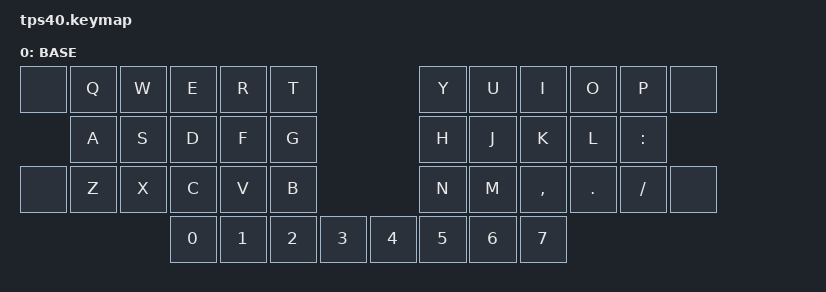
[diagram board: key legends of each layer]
/*
 * Copyright (c) 2021 The ZMK Contributors
 *
 * SPDX-License-Identifier: MIT
 */

#include <behaviors.dtsi>
#include <dt-bindings/zmk/keys.h>
#include <dt-bindings/zmk/bt.h>
#include <dt-bindings/zmk/ext_power.h>
#include <dt-bindings/zmk/outputs.h>

#include "swiss-keymap.h"

#define BASE   0
#define NAVR   1
#define SYMB   2
#define NUMR   3
#define FUNL   4
#define ADJL   5    

/ {
    keymap {
        compatible = "zmk,keymap";
        base {
            label = "BASE";
            bindings = <
    &none   &kp Q   &kp W   &kp E   &kp R   &kp T                               &kp Y   &kp U   &kp I     &kp O   &kp P     &none
            &kp A   &kp S   &kp D   &kp F   &kp G                               &kp H   &kp J   &kp K     &kp L   &kp COLON
    &none   &kp Z   &kp X   &kp C   &kp V   &kp B                               &kp N   &kp M   &kp COMMA &kp DOT &kp SLASH &none
                            &kp N0  &kp N1  &kp N2  &kp N3              &kp N4  &kp N5  &kp N6  &kp N7
            >;
        };
    };
};
